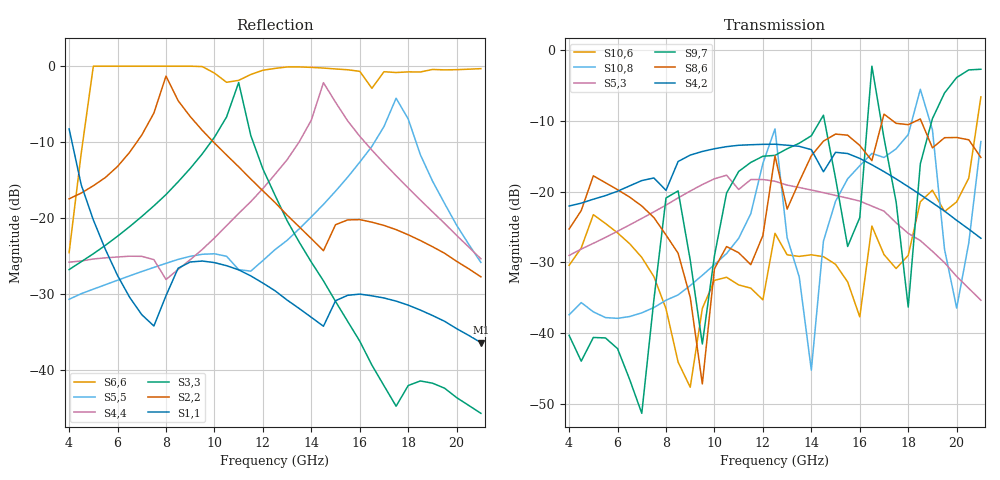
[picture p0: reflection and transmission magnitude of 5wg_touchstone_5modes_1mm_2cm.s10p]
! S-parameter export from POSTFEKO
! Filename: circular_5wg_5modes_V2
! Creation date: 2020-01-17 15:21:17
# Hz S MA R  5.0000000E+01
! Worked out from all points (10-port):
!   35 points, 4 GHz to 21 GHz, reference 50 ohm
!   strongest paths, dB at 4 GHz, 8 GHz, 12.5 GHz, 17 GHz, 21 GHz:
!     S4,2: -22.0, -19.8, -13.3, -17.2, -26.6
!     S8,6: -25.3, -26.1, -14.9, -9.0, -15.2
!     S9,7: -40.3, -20.9, -14.9, -12.4, -2.7
!     S5,3: -29.0, -21.9, -18.5, -22.7, -35.3
!     S10,8: -37.4, -35.3, -11.1, -15.2, -12.9
!     S10,6: -30.4, -36.5, -25.9, -28.9, -6.6
!   lowest |S11| = -36.3 dB at 21 GHz (marker M1), VSWR 1.03, Z = 50.3 - j1.49 ohm
!   |S11| at or under -10 dB: 4.119 GHz to end of sweep
